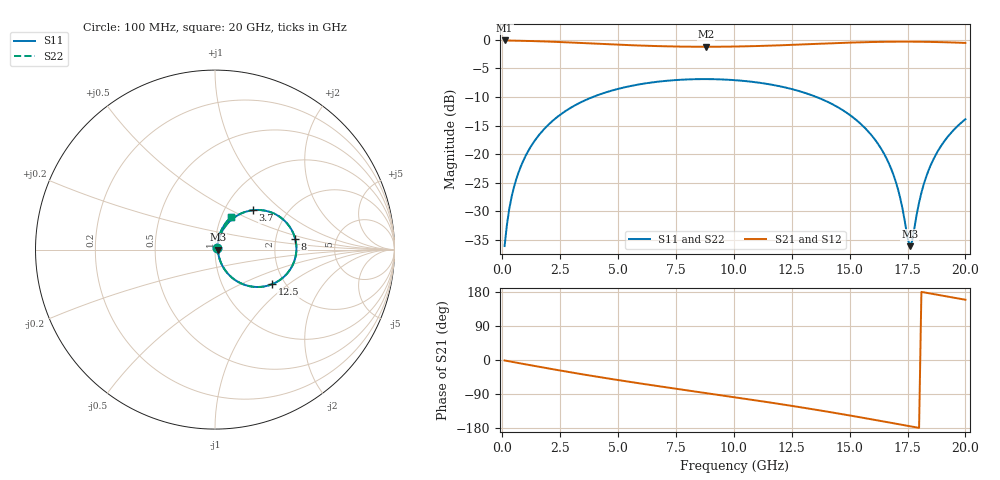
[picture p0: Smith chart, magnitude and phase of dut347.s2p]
! Touchstone file exported from HFSS 2026.1.0
!  File:  C:/ffzhzh/LocalFiles/Ansys_Project_Files/temp_train_TSV_RDL_347_1783035812_55676.aedt
!  Generated:  07:58:43 AM Jul  3, 2026
!  Design:  TSV_RDL
!  Project:  temp_train_TSV_RDL_347_1783035812_55676
! Variables:
!  h_bsmrdl = 5.64um
!  h_ox = 20um
!  h_rdl = 5um
!  h_sub = 65.84um
!  h_tmrdl = 2.64um
!  h_tsv = 65.84um
!  h_via = 3um
!  l_bsmrdl = 490.16um
!  l_sub = 3460.72um
!  l_tmrdl = 355.56um
!  m_sub = 200um
!  pitch = 53.42um
!  r_tsv = 10.91um
!  s_tmrdl = 10um
!  w_bsmrdl = 27.6um
!  w_sub = 500um
!  w_tmrdl = 28.4um
!  x_tsv_center1 = 369.76um
!  x_tsv_center2 = 887.52um
!  x_tsv_center3 = 1271.48um
!  x_tsv_center4 = 1789.24um
!  x_tsv_center5 = 2173.2um
!  x_tsv_center6 = 2690.96um
# GHz S MA R 50.000000
! Terminal data exported
! Port[1] = TM_RDL1_1_T1
! Port[2] = TM_RDL5_1_T1
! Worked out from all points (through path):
!   200 points, 100 MHz to 20 GHz, reference 50 ohm
!   highest |S21| = -0.10 dB at 100 MHz (marker M1); lowest = -1.2 dB at 8.8 GHz (marker M2)
!   group delay of S21, straight-line fit = 27 ps
!   lowest |S11| = -36.1 dB at 17.6 GHz (marker M3), VSWR 1.03, Z = 51.6 - j0.0297 ohm
!   |S11| at or under -10 dB: start of sweep to 3.908 GHz; 13.57 GHz to end of sweep
!   |S22| runs from -36.1 to -6.9 dB; largest |S21 - S12| = 7.7e-14
!   S11 on the Smith chart (normalised r, x): 100 MHz: 1.02, +0.02; 3.7 GHz: 1.35, +0.65; 8 GHz: 2.57, +0.39; 12.5 GHz: 1.71, -0.77; 20 GHz: 1.11, +0.42
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0.1  0.01568 41.1  0.9883 -1.2  0.9883 -1.2  0.01568 41.1
! Gamma 0 0 0 0
! Port Impedance 50 0 50 0
0.3  0.03306 63.2  0.9865 -3.5  0.9865 -3.5  0.03306 63.2
0.5  0.05105 68.1  0.9846 -5.8  0.9846 -5.8  0.05105 68.1
1.1  0.1047 68.9  0.9788 -12.5  0.9788 -12.5  0.1047 68.9
2.1  0.1898 61.3  0.9644 -23.5  0.9644 -23.5  0.1898 61.3
3.5  0.2912 48.1  0.9374 -38.2  0.9374 -38.2  0.2912 48.1
3.7  0.3037 46.2  0.9333 -40.2  0.9333 -40.2  0.3037 46.2
6.8  0.4323 18.1  0.881 -69.6  0.881 -69.6  0.4323 18.1
8  0.4507 7.8  0.8718 -80.3  0.8718 -80.3  0.4507 7.8
8.8  0.4537 1.0  0.8701 -87.3  0.8701 -87.3  0.4537 1.0
10.1  0.4431 -10.2  0.8748 -98.8  0.8748 -98.8  0.4431 -10.2
12.5  0.3712 -31.4  0.9043 -121.0  0.9043 -121.0  0.3712 -31.4
13.4  0.3259 -39.7  0.9196 -129.8  0.9196 -129.8  0.3259 -39.6
15.4  0.1903 -58.0  0.9515 -150.6  0.9515 -150.6  0.1903 -58.0
16.7  0.08253 -65.7  0.9634 -164.8  0.9634 -164.8  0.08255 -65.6
17.1  0.04838 -62.1  0.9647 -169.2  0.9647 -169.2  0.04843 -61.9
17.6  0.01565 -1.1  0.9647 -174.7  0.9647 -174.7  0.01585 -1.0
17.7  0.01737 28.6  0.9645 -175.9  0.9645 -175.9  0.01755 28.4
18.1  0.04592 68.4  0.9628 179.7  0.9628 179.7  0.046 68.1
18.5  0.07985 72.6  0.96 175.3  0.96 175.3  0.07991 72.5
19.1  0.1305 70.6  0.9537 168.7  0.9537 168.7  0.1306 70.5
20  0.2022 63.6  0.9406 159.1  0.9406 159.1  0.2022 63.5
